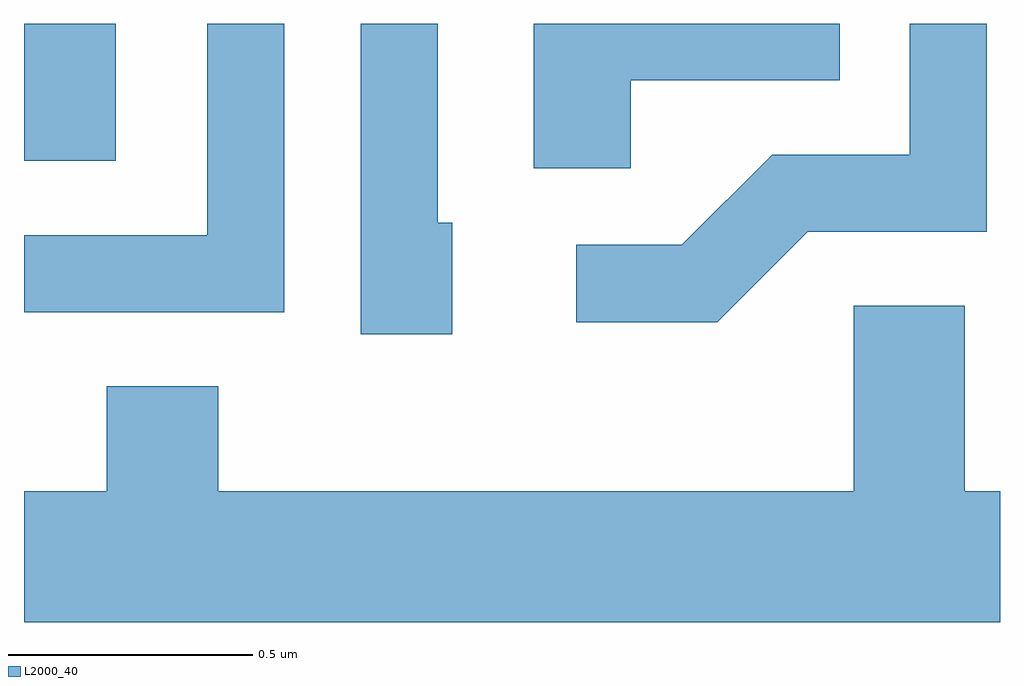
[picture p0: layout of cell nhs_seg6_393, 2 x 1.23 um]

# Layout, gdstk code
import gdstk
lib = gdstk.Library(unit=1e-6, precision=1e-09)
def R(c, l, rs):  # rectangles x0, y0, x1, y1
    for r in rs: c.add(gdstk.rectangle(r[:2], r[2:], *l))
def P(c, l, *ps):  # polygons
    for p in ps: c.add(gdstk.Polygon(p, *l))
L2000_40 = (2000, 40)

nhs_seg6_393 = lib.new_cell('nhs_seg6_393')
R(nhs_seg6_393, L2000_40, [(187.611,1650.881,187.799,1651.162)])
P(nhs_seg6_393, L2000_40, [(188.854,1651.046),(189.283,1651.046),(189.283,1651.162),(188.656,1651.162),(188.656,1650.866),(188.854,1650.866)],
  [(188.489,1650.754),(188.459,1650.754),(188.459,1651.162),(188.301,1651.162),(188.301,1650.526),(188.489,1650.526)],
  [(189.217,1650.736),(189.584,1650.736),(189.584,1651.162),(189.426,1651.162),(189.426,1650.894),(189.144,1650.894),(188.959,1650.709),(188.743,1650.709),(188.743,1650.551),(189.032,1650.551)],
  [(188.144,1651.162),(187.986,1651.162),(187.986,1650.729),(187.611,1650.729),(187.611,1650.571),(188.144,1650.571)],
  [(189.611,1650.204),(189.539,1650.204),(189.539,1650.584),(189.311,1650.584),(189.311,1650.204),(188.009,1650.204),(188.009,1650.419),(187.781,1650.419),(187.781,1650.204),(187.611,1650.204),(187.611,1649.936),(189.611,1649.936)])

lib.write_gds('nhs_seg6_393.gds')
